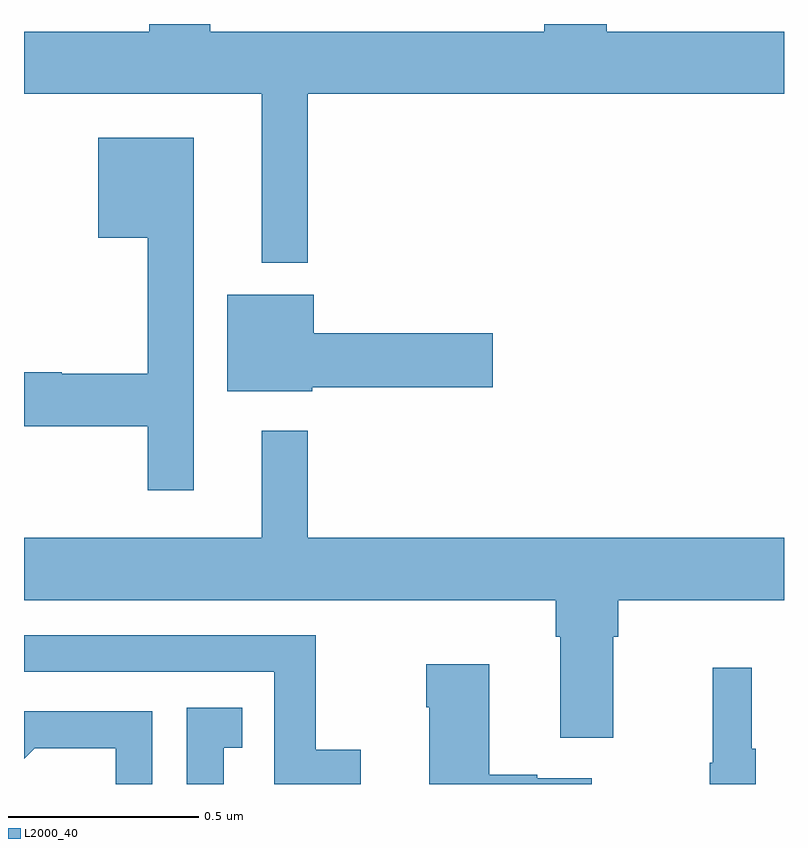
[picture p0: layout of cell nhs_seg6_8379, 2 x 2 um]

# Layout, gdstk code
import gdstk
lib = gdstk.Library(unit=1e-6, precision=1e-09)
def P(c, l, *ps):  # polygons
    for p in ps: c.add(gdstk.Polygon(p, *l))
L2000_40 = (2000, 40)

nhs_seg6_8379 = lib.new_cell('nhs_seg6_8379')
P(nhs_seg6_8379, L2000_40, [(220.747,967.316),(222,967.316),(222,967.48),(221.534,967.48),(221.534,967.5),(221.369,967.5),(221.369,967.48),(220.49,967.48),(220.49,967.5),(220.33,967.5),(220.33,967.48),(220,967.48),(220,967.316),(220.625,967.316),(220.625,966.872),(220.747,966.872)],
  [(220.447,967.201),(220.196,967.201),(220.196,966.938),(220.326,966.938),(220.326,966.579),(220.099,966.579),(220.099,966.584),(220,966.584),(220,966.442),(220.326,966.442),(220.326,966.273),(220.447,966.273)],
  [(220.758,966.544),(221.233,966.544),(221.233,966.686),(220.762,966.686),(220.762,966.787),(220.535,966.787),(220.535,966.533),(220.758,966.533)],
  [(221.551,965.888),(221.564,965.888),(221.564,965.984),(222,965.984),(222,966.148),(220.747,966.148),(220.747,966.43),(220.625,966.43),(220.625,966.148),(220,966.148),(220,965.984),(221.399,965.984),(221.399,965.888),(221.411,965.888),(221.411,965.622),(221.551,965.622)],
  [(220.886,965.59),(220.768,965.59),(220.768,965.892),(220,965.892),(220,965.796),(220.659,965.796),(220.659,965.5),(220.886,965.5)],
  [(221.494,965.515),(221.351,965.515),(221.351,965.525),(221.224,965.525),(221.224,965.815),(221.059,965.815),(221.059,965.702),(221.066,965.702),(221.066,965.5),(221.494,965.5)],
  [(221.926,965.593),(221.915,965.593),(221.915,965.806),(221.812,965.806),(221.812,965.556),(221.805,965.556),(221.805,965.5),(221.926,965.5)],
  [(220.525,965.595),(220.574,965.595),(220.574,965.701),(220.428,965.701),(220.428,965.5),(220.525,965.5)],
  [(220.338,965.691),(220,965.691),(220,965.566),(220.028,965.594),(220.242,965.594),(220.242,965.5),(220.338,965.5)])

lib.write_gds('nhs_seg6_8379.gds')
